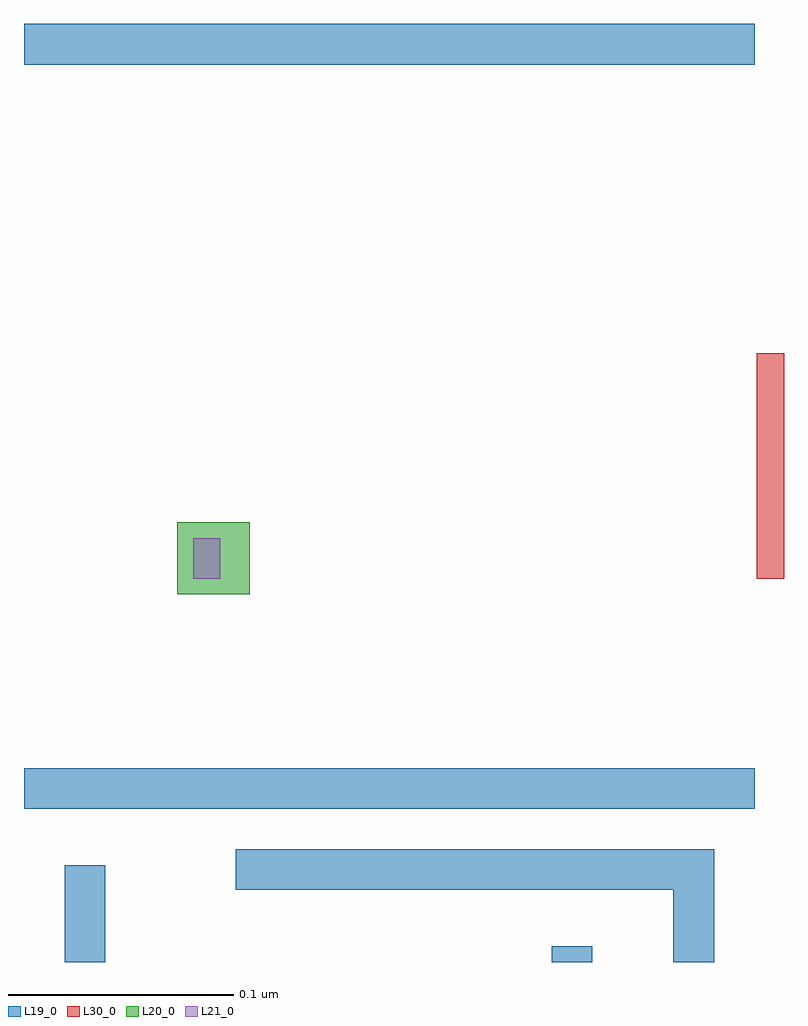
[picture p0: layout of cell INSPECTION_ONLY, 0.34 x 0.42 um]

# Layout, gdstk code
import gdstk
lib = gdstk.Library(unit=1e-6, precision=2.5e-10)
def R(c, l, rs):  # rectangles x0, y0, x1, y1
    for r in rs: c.add(gdstk.rectangle(r[:2], r[2:], *l))
def P(c, l, *ps):  # polygons
    for p in ps: c.add(gdstk.Polygon(p, *l))
L19_0 = (19, 0)
L20_0 = (20, 0)
L21_0 = (21, 0)
L30_0 = (30, 0)

inspection_only = lib.new_cell('INSPECTION_ONLY')
R(inspection_only, L19_0, [(4.018,0.193,4.036,0.236), (4.234,0.193,4.252,0.2), (4,0.261,4.324,0.279), (4,0.591,4.324,0.609)])
P(inspection_only, L19_0, [(4.288,0.193),(4.288,0.225),(4.094,0.225),(4.094,0.243),(4.306,0.243),(4.306,0.193)])
R(inspection_only, L20_0, [(4.068,0.356,4.1,0.388)])
R(inspection_only, L21_0, [(4.075,0.363,4.087,0.381)])
R(inspection_only, L30_0, [(4.325,0.363,4.337,0.463)])

lib.write_gds('INSPECTION_ONLY.gds')
